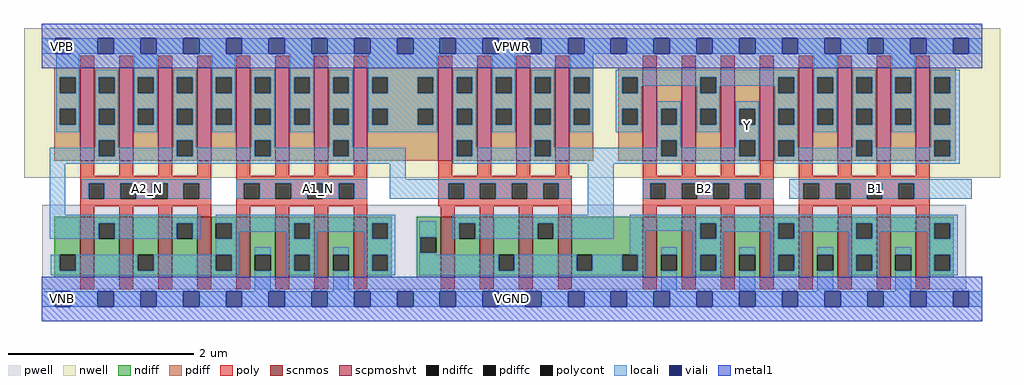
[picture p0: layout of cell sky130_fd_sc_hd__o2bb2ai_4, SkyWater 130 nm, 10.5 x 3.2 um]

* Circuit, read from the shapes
.subckt sky130_fd_sc_hd__o2bb2ai_4 A1_N A2_N B1 B2 VGND VNB VPB VPWR Y
XM1 n1 A2_N n2 VNB sky130_fd_pr__nfet_01v8 w=0.65 l=0.15 m=4
XM2 VGND A1_N n2 VNB sky130_fd_pr__nfet_01v8 w=0.65 l=0.15 m=4
XM3 Y n1 n3 VNB sky130_fd_pr__nfet_01v8 w=0.65 l=0.15 m=4
XM4 VGND B2 n3 VNB sky130_fd_pr__nfet_01v8 w=0.65 l=0.15 m=4
XM5 VGND B1 n3 VNB sky130_fd_pr__nfet_01v8 w=0.65 l=0.15 m=4
XM6 n1 A2_N VPWR VPB sky130_fd_pr__pfet_01v8_hvt w=1 l=0.15 m=4
XM7 n1 A1_N VPWR VPB sky130_fd_pr__pfet_01v8_hvt w=1 l=0.15 m=4
XM8 Y n1 VPWR VPB sky130_fd_pr__pfet_01v8_hvt w=1 l=0.15 m=4
XM9 Y B2 n4 VPB sky130_fd_pr__pfet_01v8_hvt w=1 l=0.15 m=4
XM10 VPWR B1 n4 VPB sky130_fd_pr__pfet_01v8_hvt w=1 l=0.15 m=4
.ends

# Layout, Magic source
magic
tech sky130A
magscale 1 2
<< nwell >>
rect -38 261 2062 582
<< pwell >>
rect 1 21 1989 203
rect 27 -17 61 21
<< scnmos >>
rect 83 47 113 177
rect 167 47 197 177
rect 251 47 281 177
rect 335 47 365 177
rect 419 47 449 177
rect 503 47 533 177
rect 587 47 617 177
rect 671 47 701 177
rect 859 47 889 177
rect 943 47 973 177
rect 1027 47 1057 177
rect 1111 47 1141 177
rect 1293 47 1323 177
rect 1377 47 1407 177
rect 1461 47 1491 177
rect 1545 47 1575 177
rect 1629 47 1659 177
rect 1713 47 1743 177
rect 1797 47 1827 177
rect 1881 47 1911 177
<< scpmoshvt >>
rect 83 297 113 497
rect 167 297 197 497
rect 251 297 281 497
rect 335 297 365 497
rect 419 297 449 497
rect 503 297 533 497
rect 587 297 617 497
rect 671 297 701 497
rect 853 297 883 497
rect 937 297 967 497
rect 1021 297 1051 497
rect 1105 297 1135 497
rect 1293 297 1323 497
rect 1377 297 1407 497
rect 1461 297 1491 497
rect 1545 297 1575 497
rect 1629 297 1659 497
rect 1713 297 1743 497
rect 1797 297 1827 497
rect 1881 297 1911 497
<< ndiff >>
rect 27 95 83 177
rect 27 61 39 95
rect 73 61 83 95
rect 27 47 83 61
rect 113 163 167 177
rect 113 129 123 163
rect 157 129 167 163
rect 113 47 167 129
rect 197 95 251 177
rect 197 61 207 95
rect 241 61 251 95
rect 197 47 251 61
rect 281 163 335 177
rect 281 129 291 163
rect 325 129 335 163
rect 281 47 335 129
rect 365 163 419 177
rect 365 129 375 163
rect 409 129 419 163
rect 365 95 419 129
rect 365 61 375 95
rect 409 61 419 95
rect 365 47 419 61
rect 449 95 503 177
rect 449 61 459 95
rect 493 61 503 95
rect 449 47 503 61
rect 533 163 587 177
rect 533 129 543 163
rect 577 129 587 163
rect 533 95 587 129
rect 533 61 543 95
rect 577 61 587 95
rect 533 47 587 61
rect 617 95 671 177
rect 617 61 627 95
rect 661 61 671 95
rect 617 47 671 61
rect 701 163 753 177
rect 701 129 711 163
rect 745 129 753 163
rect 701 95 753 129
rect 701 61 711 95
rect 745 61 753 95
rect 701 47 753 61
rect 807 133 859 177
rect 807 99 815 133
rect 849 99 859 133
rect 807 47 859 99
rect 889 163 943 177
rect 889 129 899 163
rect 933 129 943 163
rect 889 47 943 129
rect 973 95 1027 177
rect 973 61 983 95
rect 1017 61 1027 95
rect 973 47 1027 61
rect 1057 163 1111 177
rect 1057 129 1067 163
rect 1101 129 1111 163
rect 1057 47 1111 129
rect 1141 95 1293 177
rect 1141 61 1151 95
rect 1185 61 1249 95
rect 1283 61 1293 95
rect 1141 47 1293 61
rect 1323 95 1377 177
rect 1323 61 1333 95
rect 1367 61 1377 95
rect 1323 47 1377 61
rect 1407 163 1461 177
rect 1407 129 1417 163
rect 1451 129 1461 163
rect 1407 95 1461 129
rect 1407 61 1417 95
rect 1451 61 1461 95
rect 1407 47 1461 61
rect 1491 95 1545 177
rect 1491 61 1501 95
rect 1535 61 1545 95
rect 1491 47 1545 61
rect 1575 163 1629 177
rect 1575 129 1585 163
rect 1619 129 1629 163
rect 1575 95 1629 129
rect 1575 61 1585 95
rect 1619 61 1629 95
rect 1575 47 1629 61
rect 1659 95 1713 177
rect 1659 61 1669 95
rect 1703 61 1713 95
rect 1659 47 1713 61
rect 1743 163 1797 177
rect 1743 129 1753 163
rect 1787 129 1797 163
rect 1743 95 1797 129
rect 1743 61 1753 95
rect 1787 61 1797 95
rect 1743 47 1797 61
rect 1827 95 1881 177
rect 1827 61 1837 95
rect 1871 61 1881 95
rect 1827 47 1881 61
rect 1911 163 1963 177
rect 1911 129 1921 163
rect 1955 129 1963 163
rect 1911 95 1963 129
rect 1911 61 1921 95
rect 1955 61 1963 95
rect 1911 47 1963 61
<< pdiff >>
rect 27 477 83 497
rect 27 443 39 477
rect 73 443 83 477
rect 27 409 83 443
rect 27 375 39 409
rect 73 375 83 409
rect 27 297 83 375
rect 113 477 167 497
rect 113 443 123 477
rect 157 443 167 477
rect 113 409 167 443
rect 113 375 123 409
rect 157 375 167 409
rect 113 341 167 375
rect 113 307 123 341
rect 157 307 167 341
rect 113 297 167 307
rect 197 477 251 497
rect 197 443 207 477
rect 241 443 251 477
rect 197 409 251 443
rect 197 375 207 409
rect 241 375 251 409
rect 197 297 251 375
rect 281 477 335 497
rect 281 443 291 477
rect 325 443 335 477
rect 281 409 335 443
rect 281 375 291 409
rect 325 375 335 409
rect 281 341 335 375
rect 281 307 291 341
rect 325 307 335 341
rect 281 297 335 307
rect 365 477 419 497
rect 365 443 375 477
rect 409 443 419 477
rect 365 409 419 443
rect 365 375 375 409
rect 409 375 419 409
rect 365 297 419 375
rect 449 477 503 497
rect 449 443 459 477
rect 493 443 503 477
rect 449 409 503 443
rect 449 375 459 409
rect 493 375 503 409
rect 449 341 503 375
rect 449 307 459 341
rect 493 307 503 341
rect 449 297 503 307
rect 533 477 587 497
rect 533 443 543 477
rect 577 443 587 477
rect 533 409 587 443
rect 533 375 543 409
rect 577 375 587 409
rect 533 297 587 375
rect 617 477 671 497
rect 617 443 627 477
rect 661 443 671 477
rect 617 409 671 443
rect 617 375 627 409
rect 661 375 671 409
rect 617 341 671 375
rect 617 307 627 341
rect 661 307 671 341
rect 617 297 671 307
rect 701 477 853 497
rect 701 443 711 477
rect 745 443 809 477
rect 843 443 853 477
rect 701 409 853 443
rect 701 375 711 409
rect 745 375 809 409
rect 843 375 853 409
rect 701 297 853 375
rect 883 477 937 497
rect 883 443 893 477
rect 927 443 937 477
rect 883 409 937 443
rect 883 375 893 409
rect 927 375 937 409
rect 883 341 937 375
rect 883 307 893 341
rect 927 307 937 341
rect 883 297 937 307
rect 967 477 1021 497
rect 967 443 977 477
rect 1011 443 1021 477
rect 967 409 1021 443
rect 967 375 977 409
rect 1011 375 1021 409
rect 967 297 1021 375
rect 1051 477 1105 497
rect 1051 443 1061 477
rect 1095 443 1105 477
rect 1051 409 1105 443
rect 1051 375 1061 409
rect 1095 375 1105 409
rect 1051 341 1105 375
rect 1051 307 1061 341
rect 1095 307 1105 341
rect 1051 297 1105 307
rect 1135 477 1187 497
rect 1135 443 1145 477
rect 1179 443 1187 477
rect 1135 409 1187 443
rect 1135 375 1145 409
rect 1179 375 1187 409
rect 1135 297 1187 375
rect 1241 477 1293 497
rect 1241 443 1249 477
rect 1283 443 1293 477
rect 1241 409 1293 443
rect 1241 375 1249 409
rect 1283 375 1293 409
rect 1241 297 1293 375
rect 1323 409 1377 497
rect 1323 375 1333 409
rect 1367 375 1377 409
rect 1323 341 1377 375
rect 1323 307 1333 341
rect 1367 307 1377 341
rect 1323 297 1377 307
rect 1407 477 1461 497
rect 1407 443 1417 477
rect 1451 443 1461 477
rect 1407 409 1461 443
rect 1407 375 1417 409
rect 1451 375 1461 409
rect 1407 297 1461 375
rect 1491 409 1545 497
rect 1491 375 1501 409
rect 1535 375 1545 409
rect 1491 341 1545 375
rect 1491 307 1501 341
rect 1535 307 1545 341
rect 1491 297 1545 307
rect 1575 477 1629 497
rect 1575 443 1585 477
rect 1619 443 1629 477
rect 1575 409 1629 443
rect 1575 375 1585 409
rect 1619 375 1629 409
rect 1575 341 1629 375
rect 1575 307 1585 341
rect 1619 307 1629 341
rect 1575 297 1629 307
rect 1659 477 1713 497
rect 1659 443 1669 477
rect 1703 443 1713 477
rect 1659 409 1713 443
rect 1659 375 1669 409
rect 1703 375 1713 409
rect 1659 297 1713 375
rect 1743 477 1797 497
rect 1743 443 1753 477
rect 1787 443 1797 477
rect 1743 409 1797 443
rect 1743 375 1753 409
rect 1787 375 1797 409
rect 1743 341 1797 375
rect 1743 307 1753 341
rect 1787 307 1797 341
rect 1743 297 1797 307
rect 1827 477 1881 497
rect 1827 443 1837 477
rect 1871 443 1881 477
rect 1827 409 1881 443
rect 1827 375 1837 409
rect 1871 375 1881 409
rect 1827 297 1881 375
rect 1911 477 1967 497
rect 1911 443 1921 477
rect 1955 443 1967 477
rect 1911 409 1967 443
rect 1911 375 1921 409
rect 1955 375 1967 409
rect 1911 341 1967 375
rect 1911 307 1921 341
rect 1955 307 1967 341
rect 1911 297 1967 307
<< ndiffc >>
rect 39 61 73 95
rect 123 129 157 163
rect 207 61 241 95
rect 291 129 325 163
rect 375 129 409 163
rect 375 61 409 95
rect 459 61 493 95
rect 543 129 577 163
rect 543 61 577 95
rect 627 61 661 95
rect 711 129 745 163
rect 711 61 745 95
rect 815 99 849 133
rect 899 129 933 163
rect 983 61 1017 95
rect 1067 129 1101 163
rect 1151 61 1185 95
rect 1249 61 1283 95
rect 1333 61 1367 95
rect 1417 129 1451 163
rect 1417 61 1451 95
rect 1501 61 1535 95
rect 1585 129 1619 163
rect 1585 61 1619 95
rect 1669 61 1703 95
rect 1753 129 1787 163
rect 1753 61 1787 95
rect 1837 61 1871 95
rect 1921 129 1955 163
rect 1921 61 1955 95
<< pdiffc >>
rect 39 443 73 477
rect 39 375 73 409
rect 123 443 157 477
rect 123 375 157 409
rect 123 307 157 341
rect 207 443 241 477
rect 207 375 241 409
rect 291 443 325 477
rect 291 375 325 409
rect 291 307 325 341
rect 375 443 409 477
rect 375 375 409 409
rect 459 443 493 477
rect 459 375 493 409
rect 459 307 493 341
rect 543 443 577 477
rect 543 375 577 409
rect 627 443 661 477
rect 627 375 661 409
rect 627 307 661 341
rect 711 443 745 477
rect 809 443 843 477
rect 711 375 745 409
rect 809 375 843 409
rect 893 443 927 477
rect 893 375 927 409
rect 893 307 927 341
rect 977 443 1011 477
rect 977 375 1011 409
rect 1061 443 1095 477
rect 1061 375 1095 409
rect 1061 307 1095 341
rect 1145 443 1179 477
rect 1145 375 1179 409
rect 1249 443 1283 477
rect 1249 375 1283 409
rect 1333 375 1367 409
rect 1333 307 1367 341
rect 1417 443 1451 477
rect 1417 375 1451 409
rect 1501 375 1535 409
rect 1501 307 1535 341
rect 1585 443 1619 477
rect 1585 375 1619 409
rect 1585 307 1619 341
rect 1669 443 1703 477
rect 1669 375 1703 409
rect 1753 443 1787 477
rect 1753 375 1787 409
rect 1753 307 1787 341
rect 1837 443 1871 477
rect 1837 375 1871 409
rect 1921 443 1955 477
rect 1921 375 1955 409
rect 1921 307 1955 341
<< poly >>
rect 83 497 113 523
rect 167 497 197 523
rect 251 497 281 523
rect 335 497 365 523
rect 419 497 449 523
rect 503 497 533 523
rect 587 497 617 523
rect 671 497 701 523
rect 853 497 883 523
rect 937 497 967 523
rect 1021 497 1051 523
rect 1105 497 1135 523
rect 1293 497 1323 523
rect 1377 497 1407 523
rect 1461 497 1491 523
rect 1545 497 1575 523
rect 1629 497 1659 523
rect 1713 497 1743 523
rect 1797 497 1827 523
rect 1881 497 1911 523
rect 83 265 113 297
rect 167 265 197 297
rect 251 265 281 297
rect 335 265 365 297
rect 83 249 365 265
rect 83 215 101 249
rect 135 215 169 249
rect 203 215 237 249
rect 271 215 305 249
rect 339 215 365 249
rect 83 199 365 215
rect 83 177 113 199
rect 167 177 197 199
rect 251 177 281 199
rect 335 177 365 199
rect 419 265 449 297
rect 503 265 533 297
rect 587 265 617 297
rect 671 265 701 297
rect 419 249 701 265
rect 419 215 435 249
rect 469 215 503 249
rect 537 215 571 249
rect 605 215 639 249
rect 673 215 701 249
rect 419 199 701 215
rect 853 265 883 297
rect 937 265 967 297
rect 1021 265 1051 297
rect 1105 265 1135 297
rect 1293 265 1323 297
rect 1377 265 1407 297
rect 1461 265 1491 297
rect 1545 265 1575 297
rect 853 249 1141 265
rect 853 215 875 249
rect 909 215 943 249
rect 977 215 1011 249
rect 1045 215 1079 249
rect 1113 215 1141 249
rect 853 199 1141 215
rect 419 177 449 199
rect 503 177 533 199
rect 587 177 617 199
rect 671 177 701 199
rect 859 177 889 199
rect 943 177 973 199
rect 1027 177 1057 199
rect 1111 177 1141 199
rect 1293 249 1575 265
rect 1293 215 1309 249
rect 1343 215 1377 249
rect 1411 215 1445 249
rect 1479 215 1513 249
rect 1547 215 1575 249
rect 1293 199 1575 215
rect 1293 177 1323 199
rect 1377 177 1407 199
rect 1461 177 1491 199
rect 1545 177 1575 199
rect 1629 265 1659 297
rect 1713 265 1743 297
rect 1797 265 1827 297
rect 1881 265 1911 297
rect 1629 249 1911 265
rect 1629 215 1639 249
rect 1673 215 1707 249
rect 1741 215 1775 249
rect 1809 215 1843 249
rect 1877 215 1911 249
rect 1629 199 1911 215
rect 1629 177 1659 199
rect 1713 177 1743 199
rect 1797 177 1827 199
rect 1881 177 1911 199
rect 83 21 113 47
rect 167 21 197 47
rect 251 21 281 47
rect 335 21 365 47
rect 419 21 449 47
rect 503 21 533 47
rect 587 21 617 47
rect 671 21 701 47
rect 859 21 889 47
rect 943 21 973 47
rect 1027 21 1057 47
rect 1111 21 1141 47
rect 1293 21 1323 47
rect 1377 21 1407 47
rect 1461 21 1491 47
rect 1545 21 1575 47
rect 1629 21 1659 47
rect 1713 21 1743 47
rect 1797 21 1827 47
rect 1881 21 1911 47
<< polycont >>
rect 101 215 135 249
rect 169 215 203 249
rect 237 215 271 249
rect 305 215 339 249
rect 435 215 469 249
rect 503 215 537 249
rect 571 215 605 249
rect 639 215 673 249
rect 875 215 909 249
rect 943 215 977 249
rect 1011 215 1045 249
rect 1079 215 1113 249
rect 1309 215 1343 249
rect 1377 215 1411 249
rect 1445 215 1479 249
rect 1513 215 1547 249
rect 1639 215 1673 249
rect 1707 215 1741 249
rect 1775 215 1809 249
rect 1843 215 1877 249
<< locali >>
rect 0 527 29 561
rect 63 527 121 561
rect 155 527 213 561
rect 247 527 305 561
rect 339 527 397 561
rect 431 527 489 561
rect 523 527 581 561
rect 615 527 673 561
rect 707 527 765 561
rect 799 527 857 561
rect 891 527 949 561
rect 983 527 1041 561
rect 1075 527 1133 561
rect 1167 527 1225 561
rect 1259 527 1317 561
rect 1351 527 1409 561
rect 1443 527 1501 561
rect 1535 527 1593 561
rect 1627 527 1685 561
rect 1719 527 1777 561
rect 1811 527 1869 561
rect 1903 527 1961 561
rect 1995 527 2024 561
rect 31 477 81 527
rect 31 443 39 477
rect 73 443 81 477
rect 31 409 81 443
rect 31 375 39 409
rect 73 375 81 409
rect 31 359 81 375
rect 115 477 165 493
rect 115 443 123 477
rect 157 443 165 477
rect 115 409 165 443
rect 115 375 123 409
rect 157 375 165 409
rect 115 341 165 375
rect 199 477 249 527
rect 199 443 207 477
rect 241 443 249 477
rect 199 409 249 443
rect 199 375 207 409
rect 241 375 249 409
rect 199 359 249 375
rect 283 477 333 493
rect 283 443 291 477
rect 325 443 333 477
rect 283 409 333 443
rect 283 375 291 409
rect 325 375 333 409
rect 115 325 123 341
rect 17 307 123 325
rect 157 325 165 341
rect 283 341 333 375
rect 367 477 417 527
rect 367 443 375 477
rect 409 443 417 477
rect 367 409 417 443
rect 367 375 375 409
rect 409 375 417 409
rect 367 359 417 375
rect 451 477 501 493
rect 451 443 459 477
rect 493 443 501 477
rect 451 409 501 443
rect 451 375 459 409
rect 493 375 501 409
rect 283 325 291 341
rect 157 307 291 325
rect 325 325 333 341
rect 451 341 501 375
rect 535 477 585 527
rect 535 443 543 477
rect 577 443 585 477
rect 535 409 585 443
rect 535 375 543 409
rect 577 375 585 409
rect 535 359 585 375
rect 619 477 669 493
rect 619 443 627 477
rect 661 443 669 477
rect 619 409 669 443
rect 619 375 627 409
rect 661 375 669 409
rect 451 325 459 341
rect 325 307 459 325
rect 493 325 501 341
rect 619 341 669 375
rect 703 477 851 527
rect 703 443 711 477
rect 745 443 809 477
rect 843 443 851 477
rect 703 409 851 443
rect 703 375 711 409
rect 745 375 809 409
rect 843 375 851 409
rect 703 359 851 375
rect 885 477 935 493
rect 885 443 893 477
rect 927 443 935 477
rect 885 409 935 443
rect 885 375 893 409
rect 927 375 935 409
rect 619 325 627 341
rect 493 307 627 325
rect 661 325 669 341
rect 885 341 935 375
rect 969 477 1019 527
rect 969 443 977 477
rect 1011 443 1019 477
rect 969 409 1019 443
rect 969 375 977 409
rect 1011 375 1019 409
rect 969 359 1019 375
rect 1053 477 1103 493
rect 1053 443 1061 477
rect 1095 443 1103 477
rect 1053 409 1103 443
rect 1053 375 1061 409
rect 1095 375 1103 409
rect 661 307 783 325
rect 17 291 783 307
rect 885 307 893 341
rect 927 325 935 341
rect 1053 341 1103 375
rect 1137 477 1187 527
rect 1137 443 1145 477
rect 1179 443 1187 477
rect 1137 409 1187 443
rect 1137 375 1145 409
rect 1179 375 1187 409
rect 1137 359 1187 375
rect 1235 477 1627 493
rect 1235 443 1249 477
rect 1283 459 1417 477
rect 1283 443 1291 459
rect 1235 409 1291 443
rect 1409 443 1417 459
rect 1451 459 1585 477
rect 1451 443 1459 459
rect 1235 375 1249 409
rect 1283 375 1291 409
rect 1235 359 1291 375
rect 1325 409 1375 425
rect 1325 375 1333 409
rect 1367 375 1375 409
rect 1053 325 1061 341
rect 927 307 1061 325
rect 1095 325 1103 341
rect 1325 341 1375 375
rect 1409 409 1459 443
rect 1577 443 1585 459
rect 1619 443 1627 477
rect 1409 375 1417 409
rect 1451 375 1459 409
rect 1409 359 1459 375
rect 1493 409 1543 425
rect 1493 375 1501 409
rect 1535 375 1543 409
rect 1325 325 1333 341
rect 1095 307 1333 325
rect 1367 325 1375 341
rect 1493 341 1543 375
rect 1493 325 1501 341
rect 1367 307 1501 325
rect 1535 307 1543 341
rect 885 291 1543 307
rect 1577 409 1627 443
rect 1577 375 1585 409
rect 1619 375 1627 409
rect 1577 341 1627 375
rect 1661 477 1711 527
rect 1661 443 1669 477
rect 1703 443 1711 477
rect 1661 409 1711 443
rect 1661 375 1669 409
rect 1703 375 1711 409
rect 1661 359 1711 375
rect 1745 477 1795 493
rect 1745 443 1753 477
rect 1787 443 1795 477
rect 1745 409 1795 443
rect 1745 375 1753 409
rect 1787 375 1795 409
rect 1577 307 1585 341
rect 1619 325 1627 341
rect 1745 341 1795 375
rect 1829 477 1879 527
rect 1829 443 1837 477
rect 1871 443 1879 477
rect 1829 409 1879 443
rect 1829 375 1837 409
rect 1871 375 1879 409
rect 1829 359 1879 375
rect 1913 477 1975 493
rect 1913 443 1921 477
rect 1955 443 1975 477
rect 1913 409 1975 443
rect 1913 375 1921 409
rect 1955 375 1975 409
rect 1745 325 1753 341
rect 1619 307 1753 325
rect 1787 325 1795 341
rect 1913 341 1975 375
rect 1913 325 1921 341
rect 1787 307 1921 325
rect 1955 307 1975 341
rect 1577 291 1975 307
rect 17 181 51 291
rect 749 257 783 291
rect 85 249 365 257
rect 85 215 101 249
rect 135 215 169 249
rect 203 215 237 249
rect 271 215 305 249
rect 339 215 365 249
rect 419 249 701 257
rect 419 215 435 249
rect 469 215 503 249
rect 537 215 571 249
rect 605 215 639 249
rect 673 215 701 249
rect 749 249 1141 257
rect 749 215 875 249
rect 909 215 943 249
rect 977 215 1011 249
rect 1045 215 1079 249
rect 1113 215 1141 249
rect 1175 181 1231 291
rect 1293 249 1575 257
rect 1293 215 1309 249
rect 1343 215 1377 249
rect 1411 215 1445 249
rect 1479 215 1513 249
rect 1547 215 1575 249
rect 1609 249 2001 257
rect 1609 215 1639 249
rect 1673 215 1707 249
rect 1741 215 1775 249
rect 1809 215 1843 249
rect 1877 215 2001 249
rect 17 163 341 181
rect 17 129 123 163
rect 157 129 291 163
rect 325 129 341 163
rect 375 163 761 181
rect 409 145 543 163
rect 409 129 425 145
rect 375 95 425 129
rect 527 129 543 145
rect 577 145 711 163
rect 577 129 593 145
rect 20 61 39 95
rect 73 61 207 95
rect 241 61 375 95
rect 409 61 425 95
rect 20 51 425 61
rect 459 95 493 111
rect 459 17 493 61
rect 527 95 593 129
rect 695 129 711 145
rect 745 129 761 163
rect 527 61 543 95
rect 577 61 593 95
rect 527 51 593 61
rect 627 95 661 111
rect 627 17 661 61
rect 695 95 761 129
rect 695 61 711 95
rect 745 61 761 95
rect 695 51 761 61
rect 812 133 849 167
rect 812 99 815 133
rect 883 163 1231 181
rect 883 129 899 163
rect 933 129 1067 163
rect 1101 129 1231 163
rect 1265 163 1971 181
rect 1265 147 1417 163
rect 812 95 849 99
rect 1265 95 1299 147
rect 1401 129 1417 147
rect 1451 145 1585 163
rect 1451 129 1467 145
rect 812 61 983 95
rect 1017 61 1151 95
rect 1185 61 1249 95
rect 1283 61 1299 95
rect 812 51 1299 61
rect 1333 95 1367 111
rect 1333 17 1367 61
rect 1401 95 1467 129
rect 1569 129 1585 145
rect 1619 145 1753 163
rect 1619 129 1635 145
rect 1401 61 1417 95
rect 1451 61 1467 95
rect 1401 51 1467 61
rect 1501 95 1535 111
rect 1501 17 1535 61
rect 1569 95 1635 129
rect 1737 129 1753 145
rect 1787 145 1921 163
rect 1787 129 1803 145
rect 1569 61 1585 95
rect 1619 61 1635 95
rect 1569 51 1635 61
rect 1669 95 1703 111
rect 1669 17 1703 61
rect 1737 95 1803 129
rect 1905 129 1921 145
rect 1955 129 1971 163
rect 1737 61 1753 95
rect 1787 61 1803 95
rect 1737 51 1803 61
rect 1837 95 1871 111
rect 1837 17 1871 61
rect 1905 95 1971 129
rect 1905 61 1921 95
rect 1955 61 1971 95
rect 1905 51 1971 61
rect 0 -17 29 17
rect 63 -17 121 17
rect 155 -17 213 17
rect 247 -17 305 17
rect 339 -17 397 17
rect 431 -17 489 17
rect 523 -17 581 17
rect 615 -17 673 17
rect 707 -17 765 17
rect 799 -17 857 17
rect 891 -17 949 17
rect 983 -17 1041 17
rect 1075 -17 1133 17
rect 1167 -17 1225 17
rect 1259 -17 1317 17
rect 1351 -17 1409 17
rect 1443 -17 1501 17
rect 1535 -17 1593 17
rect 1627 -17 1685 17
rect 1719 -17 1777 17
rect 1811 -17 1869 17
rect 1903 -17 1961 17
rect 1995 -17 2024 17
<< viali >>
rect 29 527 63 561
rect 121 527 155 561
rect 213 527 247 561
rect 305 527 339 561
rect 397 527 431 561
rect 489 527 523 561
rect 581 527 615 561
rect 673 527 707 561
rect 765 527 799 561
rect 857 527 891 561
rect 949 527 983 561
rect 1041 527 1075 561
rect 1133 527 1167 561
rect 1225 527 1259 561
rect 1317 527 1351 561
rect 1409 527 1443 561
rect 1501 527 1535 561
rect 1593 527 1627 561
rect 1685 527 1719 561
rect 1777 527 1811 561
rect 1869 527 1903 561
rect 1961 527 1995 561
rect 29 -17 63 17
rect 121 -17 155 17
rect 213 -17 247 17
rect 305 -17 339 17
rect 397 -17 431 17
rect 489 -17 523 17
rect 581 -17 615 17
rect 673 -17 707 17
rect 765 -17 799 17
rect 857 -17 891 17
rect 949 -17 983 17
rect 1041 -17 1075 17
rect 1133 -17 1167 17
rect 1225 -17 1259 17
rect 1317 -17 1351 17
rect 1409 -17 1443 17
rect 1501 -17 1535 17
rect 1593 -17 1627 17
rect 1685 -17 1719 17
rect 1777 -17 1811 17
rect 1869 -17 1903 17
rect 1961 -17 1995 17
<< metal1 >>
rect 0 561 2024 592
rect 0 527 29 561
rect 63 527 121 561
rect 155 527 213 561
rect 247 527 305 561
rect 339 527 397 561
rect 431 527 489 561
rect 523 527 581 561
rect 615 527 673 561
rect 707 527 765 561
rect 799 527 857 561
rect 891 527 949 561
rect 983 527 1041 561
rect 1075 527 1133 561
rect 1167 527 1225 561
rect 1259 527 1317 561
rect 1351 527 1409 561
rect 1443 527 1501 561
rect 1535 527 1593 561
rect 1627 527 1685 561
rect 1719 527 1777 561
rect 1811 527 1869 561
rect 1903 527 1961 561
rect 1995 527 2024 561
rect 0 496 2024 527
rect 0 17 2024 48
rect 0 -17 29 17
rect 63 -17 121 17
rect 155 -17 213 17
rect 247 -17 305 17
rect 339 -17 397 17
rect 431 -17 489 17
rect 523 -17 581 17
rect 615 -17 673 17
rect 707 -17 765 17
rect 799 -17 857 17
rect 891 -17 949 17
rect 983 -17 1041 17
rect 1075 -17 1133 17
rect 1167 -17 1225 17
rect 1259 -17 1317 17
rect 1351 -17 1409 17
rect 1443 -17 1501 17
rect 1535 -17 1593 17
rect 1627 -17 1685 17
rect 1719 -17 1777 17
rect 1811 -17 1869 17
rect 1903 -17 1961 17
rect 1995 -17 2024 17
rect 0 -48 2024 -17
<< labels >>
flabel locali s 579 221 613 255 0 FreeSans 400 0 0 0 A1_N
port 1 nsew signal input
flabel locali s 1777 221 1811 255 0 FreeSans 400 0 0 0 B1
port 3 nsew signal input
flabel locali s 1409 221 1443 255 0 FreeSans 400 0 0 0 B2
port 4 nsew signal input
flabel locali s 211 221 245 255 0 FreeSans 400 0 0 0 A2_N
port 2 nsew signal input
flabel locali s 1501 357 1535 391 0 FreeSans 400 0 0 0 Y
port 9 nsew signal output
flabel nwell s 27 527 61 561 0 FreeSans 200 0 0 0 VPB
port 7 nsew power bidirectional
flabel pwell s 27 -17 61 17 0 FreeSans 200 0 0 0 VNB
port 6 nsew ground bidirectional
flabel metal1 s 27 -17 61 17 0 FreeSans 200 0 0 0 VGND
port 5 nsew ground bidirectional abutment
flabel metal1 s 27 527 61 561 0 FreeSans 200 0 0 0 VPWR
port 8 nsew power bidirectional abutment
rlabel comment s 0 0 0 0 4 o2bb2ai_4
rlabel metal1 s 0 -48 2024 48 1 VGND
port 5 nsew ground bidirectional abutment
rlabel metal1 s 0 496 2024 592 1 VPWR
port 8 nsew power bidirectional abutment
<< properties >>
string FIXED_BBOX 0 0 2024 544
string GDS_END 1260042
string GDS_FILE $PDKPATH/libs.ref/sky130_fd_sc_hd/gds/sky130_fd_sc_hd.gds
string GDS_START 1245280
string LEFclass CORE
string LEFsite unithd
string LEFsymmetry X Y R90
string path 0.000 0.000 10.120 0.000 
<< end >>
